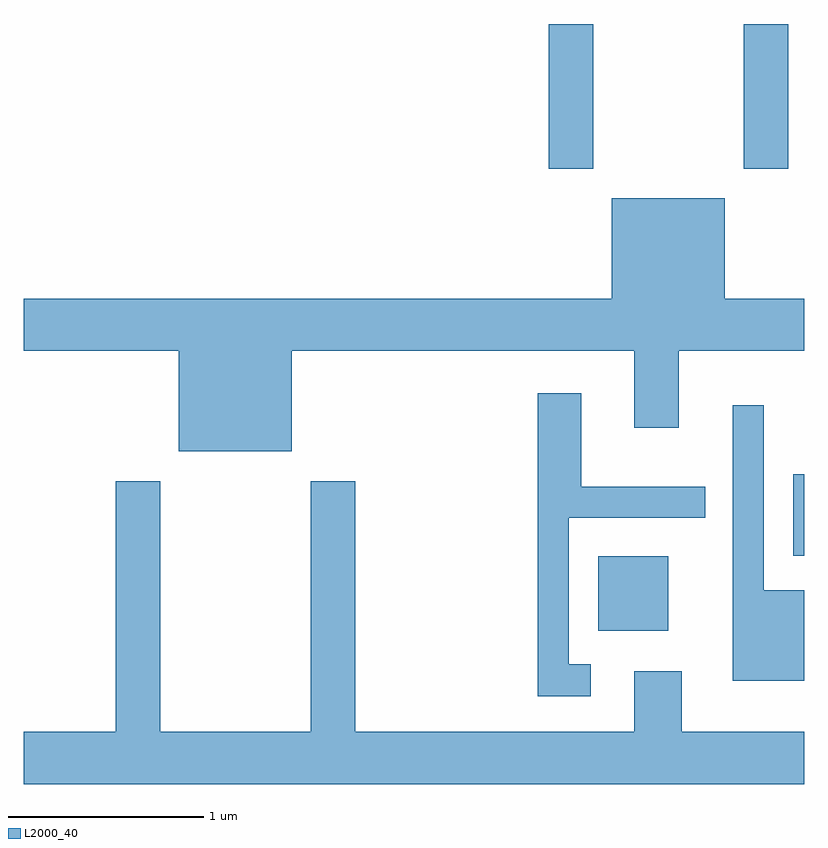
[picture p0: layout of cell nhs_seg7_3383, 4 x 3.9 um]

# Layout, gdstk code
import gdstk
lib = gdstk.Library(unit=1e-6, precision=1e-09)
def R(c, l, rs):  # rectangles x0, y0, x1, y1
    for r in rs: c.add(gdstk.rectangle(r[:2], r[2:], *l))
def P(c, l, *ps):  # polygons
    for p in ps: c.add(gdstk.Polygon(p, *l))
L2000_40 = (2000, 40)

nhs_seg7_3383 = lib.new_cell('nhs_seg7_3383')
R(nhs_seg7_3383, L2000_40, [(292.556,1675.141,292.914,1675.524), (293.556,1675.526,293.611,1675.944), (292.301,1677.511,292.529,1678.252), (293.301,1677.511,293.529,1678.252)])
P(nhs_seg7_3383, L2000_40, [(290.984,1676.576),(292.741,1676.576),(292.741,1676.181),(292.969,1676.181),(292.969,1676.576),(293.611,1676.576),(293.611,1676.844),(293.204,1676.844),(293.204,1677.359),(292.626,1677.359),(292.626,1676.844),(289.611,1676.844),(289.611,1676.576),(290.406,1676.576),(290.406,1676.061),(290.984,1676.061)],
  [(292.518,1674.969),(292.404,1674.969),(292.404,1675.721),(293.103,1675.721),(293.103,1675.879),(292.469,1675.879),(292.469,1676.359),(292.246,1676.359),(292.246,1674.806),(292.518,1674.806)],
  [(293.611,1675.349),(293.404,1675.349),(293.404,1676.298),(293.246,1676.298),(293.246,1674.886),(293.611,1674.886)],
  [(293.611,1674.624),(292.984,1674.624),(292.984,1674.934),(292.741,1674.934),(292.741,1674.624),(291.309,1674.624),(291.309,1675.909),(291.081,1675.909),(291.081,1674.624),(290.309,1674.624),(290.309,1675.909),(290.081,1675.909),(290.081,1674.624),(289.611,1674.624),(289.611,1674.356),(293.611,1674.356)])

lib.write_gds('nhs_seg7_3383.gds')
